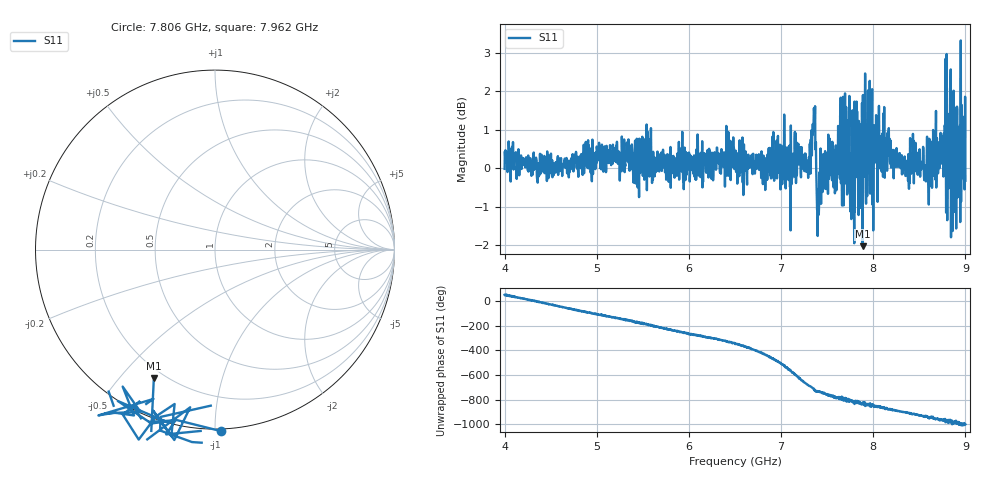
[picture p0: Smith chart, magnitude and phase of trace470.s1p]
! Created with skrf 1.8.0 (http://scikit-rf.org).
# Hz S RI R 50.0
!freq ReS11 ImS11
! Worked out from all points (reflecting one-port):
!   1601 points, 4 GHz to 9 GHz, reference 50 ohm
!   lowest |S11| = -2.0 dB at 7.884 GHz (marker M1), VSWR 8.64, Z = 8.05 - j31 ohm
!   phase of S11 starts at 51 deg and turns -1050 deg over the sweep
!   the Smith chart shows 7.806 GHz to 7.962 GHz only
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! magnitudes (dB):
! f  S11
! 4 GHz  0.0
! 4.625 GHz  -0.2
! 5.25 GHz  -0.3
! 5.875 GHz  0.4
! 6.5 GHz  0.3
! 7.125 GHz  0.1
! 7.172 GHz  -0.2
! 7.294 GHz  -0.2
! 7.347 GHz  1.0
! 7.409 GHz  -1.2
! 7.509 GHz  -0.7
! 7.591 GHz  0.4
! 7.65 GHz  -0.4
! 7.75 GHz  -1.1
! 7.769 GHz  -0.4
! 7.822 GHz  -0.2
! 7.884 GHz  -2.0
! 7.962 GHz  2.3
! 8.022 GHz  0.4
! 8.134 GHz  0.4
! 8.375 GHz  -0.1
! 8.441 GHz  -0.4
! 8.578 GHz  -0.2
! 8.816 GHz  -0.5
! 8.875 GHz  1.0
! 8.897 GHz  0.4
! 8.972 GHz  1.0
! 9 GHz  -0.3
